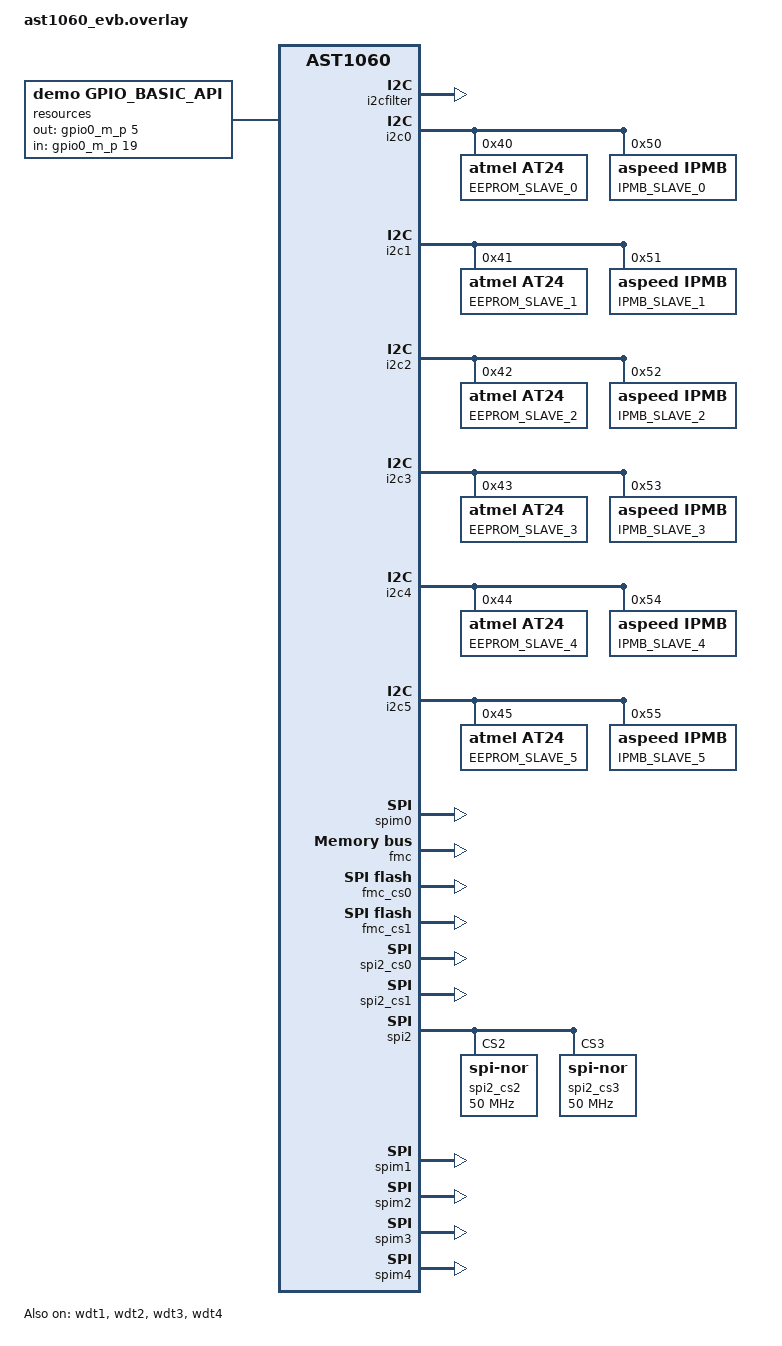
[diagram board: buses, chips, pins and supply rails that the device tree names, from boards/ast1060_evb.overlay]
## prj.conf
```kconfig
CONFIG_GPIO=y
CONFIG_SPI=y
CONFIG_I2C=y
CONFIG_THREAD_RUNTIME_STATS=y
CONFIG_GPIO_SHELL=y
CONFIG_I2C_SLAVE=y
CONFIG_I2C_EEPROM_SLAVE=y
CONFIG_I2C_IPMB_SLAVE=y
CONFIG_FLASH=y
CONFIG_SPI_NOR_MULTI_DEV=y
CONFIG_FLASH_SHELL=y
CONFIG_HEAP_MEM_POOL_SIZE=16384
CONFIG_MINIMAL_LIBC_MALLOC_ARENA_SIZE=147456
CONFIG_REBOOT=y
CONFIG_POSIX_CLOCK=y
CONFIG_STACK_SENTINEL=y
CONFIG_LOG=y
CONFIG_LOG_BACKEND_UART=y
CONFIG_SHELL=y
CONFIG_SHELL_BACKEND_SERIAL_INIT_PRIORITY=99
CONFIG_PFR_FLOW_CTRL_AST1060=y
```

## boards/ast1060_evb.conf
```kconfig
CONFIG_GPIO_ASPEED_SGPIOM=y
CONFIG_GPIO_ASPEED=y
CONFIG_SPI_ASPEED=y
CONFIG_SPI_MONITOR_ASPEED=y
CONFIG_I2C_ASPEED=y
CONFIG_I2C_PFR=y
CONFIG_I2C_PFR_INIT_PRIORITY=60
CONFIG_I2C_PFR_FILTER=y
CONFIG_SHELL_ARGC_MAX=70
CONFIG_WATCHDOG=y
CONFIG_WDT_ASPEED=y
```

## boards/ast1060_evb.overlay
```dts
/ {
	resources {
		compatible = "demo,gpio_basic_api";
		out-gpios = <&gpio0_m_p 5 0>;
		in-gpios = <&gpio0_m_p 19 0>;
	};
};

&i2cfilter {
	pinctrl-0 = <&pinctrl_smbflt_default>;
	status = "okay";
};

&i2c0 {
	status = "okay";
	pinctrl-0 = <&pinctrl_i2c0_default>;

	eeprom0: eeprom0@40 {
		compatible = "atmel,at24";
		reg = <0x40>;
		label = "EEPROM_SLAVE_0";
		size = <256>;
		pagesize = <16>;
		address-width = <8>;
		timeout = <5>;
#ifdef CONFIG_I2C_EEPROM_SLAVE
		status = "okay";
#endif
	};

	ipmb0: ipmb0@50 {
		compatible = "aspeed,ipmb";
		reg = <0x50>;
		label = "IPMB_SLAVE_0";
		size = <5>;
#ifdef CONFIG_I2C_IPMB_SLAVE
		status = "okay";
#endif
	};

};

&i2c1 {
	pinctrl-0 = <&pinctrl_i2c1_default>;
	status = "okay";

	eeprom1: eeprom1@41 {
		compatible = "atmel,at24";
		reg = <0x41>;
		label = "EEPROM_SLAVE_1";
		size = <256>;
		pagesize = <16>;
		address-width = <8>;
		timeout = <5>;
#ifdef CONFIG_I2C_EEPROM_SLAVE
		status = "okay";
#endif
	};

	ipmb1: ipmb1@51 {
		compatible = "aspeed,ipmb";
		reg = <0x51>;
		label = "IPMB_SLAVE_1";
		size = <5>;
#ifdef CONFIG_I2C_IPMB_SLAVE
		status = "okay";
#endif
	};

};

&i2c2 {
	pinctrl-0 = <&pinctrl_i2c2_default>;
	status = "okay";

	eeprom2: eeprom2@42 {
		compatible = "atmel,at24";
		reg = <0x42>;
		label = "EEPROM_SLAVE_2";
		size = <256>;
		pagesize = <16>;
		address-width = <8>;
		timeout = <5>;
#ifdef CONFIG_I2C_EEPROM_SLAVE
		status = "okay";
#endif
	};

	ipmb2: ipmb2@52 {
		compatible = "aspeed,ipmb";
		reg = <0x52>;
		label = "IPMB_SLAVE_2";
		size = <5>;
#ifdef CONFIG_I2C_IPMB_SLAVE
		status = "okay";
#endif
	};

};

&i2c3 {
	pinctrl-0 = <&pinctrl_i2c3_default>;
	status = "okay";

	eeprom3: eeprom3@43 {
		compatible = "atmel,at24";
		reg = <0x43>;
		label = "EEPROM_SLAVE_3";
		size = <256>;
		pagesize = <16>;
		address-width = <8>;
		timeout = <5>;
#ifdef CONFIG_I2C_EEPROM_SLAVE
		status = "okay";
#endif
	};

	ipmb3: ipmb3@53 {
		compatible = "aspeed,ipmb";
		reg = <0x53>;
		label = "IPMB_SLAVE_3";
		size = <5>;
#ifdef CONFIG_I2C_IPMB_SLAVE
		status = "okay";
#endif
	};

};

&i2c4 {
	pinctrl-0 = <&pinctrl_i2c4_default>;
	status = "okay";

	eeprom4: eeprom4@44 {
		compatible = "atmel,at24";
		reg = <0x44>;
		label = "EEPROM_SLAVE_4";
		size = <256>;
		pagesize = <16>;
		address-width = <8>;
		timeout = <5>;
#ifdef CONFIG_I2C_EEPROM_SLAVE
		status = "okay";
#endif
	};

	ipmb4: ipmb4@54 {
		compatible = "aspeed,ipmb";
		reg = <0x54>;
		label = "IPMB_SLAVE_4";
		size = <5>;
#ifdef CONFIG_I2C_IPMB_SLAVE
		status = "okay";
#endif
	};

};

&i2c5 {
	pinctrl-0 = <&pinctrl_i2c5_default>;
	status = "okay";

	eeprom5: eeprom5@45 {
		compatible = "atmel,at24";
		reg = <0x45>;
		label = "EEPROM_SLAVE_5";
		size = <256>;
		pagesize = <16>;
		address-width = <8>;
		timeout = <5>;
#ifdef CONFIG_I2C_EEPROM_SLAVE
		status = "okay";
#endif
	};

	ipmb5: ipmb5@55 {
		compatible = "aspeed,ipmb";
		reg = <0x55>;
		label = "IPMB_SLAVE_5";
		size = <5>;
#ifdef CONFIG_I2C_IPMB_SLAVE
		status = "okay";
#endif
	};

};

&wdt1 {
	status = "okay";
};

&wdt2 {
	status = "okay";
};

&wdt3 {
	status = "okay";
};

&wdt4 {
	status = "okay";
};

&spim0 {
	status = "okay";
};

&fmc {
	status = "okay";
};

&fmc_cs0 {
	status = "okay";
	spi-max-buswidth = <4>;
	spi-max-frequency = <50000000>;
};

&fmc_cs1 {
	status = "okay";
	spi-max-buswidth = <4>;
	spi-max-frequency = <50000000>;
};


/* Use AST1060 SPI2 as the internal SPI master to
 * to access the SPI flashes connected to SPI monitors
 * Here,
 * "SPI2_CS0" used to access flash connected to SPI_Monitor_1,
 * "SPI2_CS1" is used to access flash connected to SPI_Monitor_2,
 * "SPI2_CS2" is used to access flash connected to SPI_Monitor_3,
 * "SPI2_CS3" is used to access flash connected to SPI_Monitor_4.
 */

&spi2_cs0 {
	spi-max-buswidth = <4>;
	spi-max-frequency = <50000000>;
	reg = <0>;
	status = "okay";
};

&spi2_cs1 {
	spi-max-buswidth = <4>;
	spi-max-frequency = <50000000>;
	reg = <1>;
	status = "okay";
};

&spi2 {
	internal-mux-master = <2>;
	spi-monitor-output-base = <1>;
	spi-monitor-common-ctrl = <&spim0>;
	pinctrl-0 = <>;
	num-cs = <4>;
	status = "okay";

	spi2_cs2: flash@2 {
		compatible = "jedec,spi-nor";
		reg = <2>;
		spi-max-buswidth = <4>;
		spi-max-frequency = <50000000>;
		label = "spi2_cs2";
		status = "okay";
	};

	spi2_cs3: flash@3 {
		compatible = "jedec,spi-nor";
		reg = <3>;
		spi-max-buswidth = <4>;
		spi-max-frequency = <50000000>;
		label = "spi2_cs3";
		status = "okay";
	};
};

&spim1 {
	valid-cmds = [03 13 0b 0c 6b 6c 01 05 35 06 04 20 21 9f 5a b7 e9 32 34 d8 dc 02 12];
	log-ram-size = <0x200>;
	pinctrl-0 = <&pinctrl_spim1_cs &pinctrl_spim1_in_default &pinctrl_spim1_out_default
				&pinctrl_spim1_qspi_in_default &pinctrl_spim1_qspi_out_default
				&pinctrl_spim1_rst_out>;
	status = "okay";
};

&spim2 {
	valid-cmds = [03 13 0b 0c 6b 6c 01 05 35 06 04 20 21 9f 5a b7 e9 32 34 d8 dc 02 12];
	log-ram-size = <0x200>;
	pinctrl-0 = <&pinctrl_spim2_cs &pinctrl_spim2_in_default &pinctrl_spim2_out_default
				&pinctrl_spim2_qspi_in_default &pinctrl_spim2_qspi_out_default
				&pinctrl_spim2_rst_out>;
	status = "okay";
};

&spim3 {
	valid-cmds = [03 13 0b 0c 6b 6c 01 05 35 06 04 20 21 9f 5a b7 e9 32 34 d8 dc 02 12];
	log-ram-size = <0x200>;
	pinctrl-0 = <&pinctrl_spim3_cs &pinctrl_spim3_in_default &pinctrl_spim3_out_default
				&pinctrl_spim3_qspi_in_default &pinctrl_spim3_qspi_out_default
				&pinctrl_spim3_rst_out>;
	status = "okay";
};

&spim4 {
	valid-cmds = [03 13 0b 0c 6b 6c 01 05 35 06 04 20 21 9f 5a b7 e9 32 34 d8 dc 02 12];
	log-ram-size = <0x200>;
	/* for demo purpose */
	read-forbidden-regions = <
		0x00000000 0x10000
		0x00274000 0x4000
		0x01E00000 0x80000
	>;

	write-forbidden-regions = <
		0x00000000 0x10000
		0x013FC000 0x28000
		0x0FFF8000 0x8000
	>;

	pinctrl-0 = <&pinctrl_spim4_cs &pinctrl_spim4_in_default &pinctrl_spim4_out_default
				&pinctrl_spim4_qspi_in_default &pinctrl_spim4_qspi_out_default
				&pinctrl_spim4_rst_out>;
	status = "okay";
};
```

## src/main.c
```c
/*
 * Copyright (c) 2021 ASPEED Technology Inc.
 *
 * SPDX-License-Identifier: Apache-2.0
 */

#include <zephyr.h>
#include <sys/printk.h>
#include <drivers/misc/aspeed/pfr_aspeed.h>
#include "spi.h"
#include "demo_gpio.h"

static struct k_work rst_work;
static struct gpio_callback gpio_cb;

static void ast1060_rst_demo_passthrough(struct k_work *item)
{
	int ret;
	const struct device *spim_dev = NULL;
	uint32_t i;
	static char *spim_devs[4] = {
		"spi_m1",
		"spi_m2",
		"spi_m3",
		"spi_m4"
	};

	printk("[demo] BMC is AC on or reset!\n");

	spim_dev = device_get_binding("spi_m1");
	if (!spim_dev) {
		printk("[demo_err]: cannot get device, spi_m1.\n");
		return;
	}

	/* reset BMC and flash */
	pfr_bmc_rst_enable_ctrl(true);
	spim_rst_flash(spim_dev, 500);

	/* disable passthrough mode for SPI monitors */
	for (i = 0; i < 4; i++) {
		spim_dev = device_get_binding(spim_devs[i]);
		if (!spim_dev) {
			printk("[demo_err]: cannot get device, %s.\n", spim_devs[i]);
			return;
		}

		spim_passthrough_enable(spim_dev, 0, false);
	}

	/* emulate PFR read flash each flash content for verification purpose */
	ret = test_spi_host_read();
	if (ret)
		return;

	/* set up passthrough mode for SPI monitors */
	for (i = 0; i < 4; i++) {
		spim_dev = device_get_binding(spim_devs[i]);
		if (!spim_dev) {
			printk("[demo_err]: cannot get device, %s.\n", spim_devs[i]);
			return;
		}

		spim_passthrough_enable(spim_dev, SPIM_SINGLE_PASSTHROUGH, true);
	}

	pfr_bmc_rst_enable_ctrl(false);

}

static void gpioo3_callback(const struct device *dev,
		       struct gpio_callback *gpio_cb, uint32_t pins)
{
	/* reset BMC first */
	pfr_bmc_rst_enable_ctrl(true);

	k_work_submit(&rst_work);

	ARG_UNUSED(*gpio_cb);
	ARG_UNUSED(pins);
}

static void rst_gpio_event_register(void)
{
	int ret;
	const struct device *gpio_dev = device_get_binding(GPIOO3_DEV_NAME);

	if (!gpio_dev) {
		printk("[demo_err]: cannot get device, %s.\n", gpio_dev->name);
		return;
	}

	ret = gpio_pin_interrupt_configure(gpio_dev, GPIOO3_PIN_IN, GPIO_INT_DISABLE);
	if (ret != 0) {
		printk("[demo_err]: cannot configure GPIO INT(disabled).\n");
		return;
	}

	ret = gpio_pin_configure(gpio_dev, GPIOO3_PIN_IN, GPIO_INPUT);
	if (ret != 0) {
		printk("[demo_err]: cannot configure gpio device.\n");
		return;
	}

	gpio_init_callback(&gpio_cb, gpioo3_callback, BIT(GPIOO3_PIN_IN));
	ret = gpio_add_callback(gpio_dev, &gpio_cb);
	if (ret != 0) {
		printk("[demo_err]: cannot add gpio callback.\n");
		return;
	}

	ret = gpio_pin_interrupt_configure(gpio_dev, GPIOO3_PIN_IN, GPIO_INT_EDGE_TO_INACTIVE);
	if (ret != 0) {
		printk("[demo_err]: cannot configure GPIO INT(1->0).\n");
		return;
	}
}

void main(void)
{
	printk("%s demo\n", CONFIG_BOARD);
	/* reset BMC first */
	pfr_bmc_rst_enable_ctrl(true);

	rst_gpio_event_register();

	k_work_init(&rst_work, ast1060_rst_demo_passthrough);

	ast1060_rst_demo_passthrough(NULL);
}
```

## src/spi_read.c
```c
/*
 * Copyright (c) 2021 Aspeed Technology Inc.
 *
 * SPDX-License-Identifier: Apache-2.0
 */

#include <drivers/flash.h>
#include <drivers/spi_nor.h>
#include <kernel.h>
#include <sys/util.h>
#include <stdlib.h>
#include <string.h>
#include <zephyr.h>

#define LOG_MODULE_NAME spim_read_demo

#include <logging/log.h>
LOG_MODULE_REGISTER(LOG_MODULE_NAME);

#define SPIM_TEST_SIZE 0x1000
#define SPIM_TEST_ARR_SIZE 0x1100

static uint8_t __aligned(4) test_arr[SPIM_TEST_ARR_SIZE];

static char *flash_devices[6] = {
	"spi2_cs0",
	"spi2_cs1",
	"spi2_cs2",
	"spi2_cs3"
};

static void spim_dump_buf(uint8_t *buf, uint32_t len)
{
	uint32_t i;

	for (i = 0; i < len; i++) {
		printk("%02x ", buf[i]);
		if (i % 16 == 15)
			printk("\n");
	}
	printk("\n");
}

static int do_erase_write_verify(const struct device *flash_device,
			uint32_t op_addr, uint8_t *write_buf, uint8_t *read_back_buf,
			uint32_t erase_sz)
{
	uint32_t ret = 0;

	ret = flash_erase(flash_device, op_addr, erase_sz);
	if (ret != 0) {
		LOG_ERR("[%s][%d] erase failed at %d.",
			__func__, __LINE__, op_addr);
		goto end;
	}

	ret = flash_write(flash_device, op_addr, write_buf, erase_sz);
	if (ret != 0) {
		LOG_ERR("[%s][%d] write failed at %d.",
			__func__, __LINE__, op_addr);
		goto end;
	}

	flash_read(flash_device, op_addr, read_back_buf, erase_sz);
	if (ret != 0) {
		LOG_ERR("[%s][%d] write failed at %d.",
			__func__, __LINE__, op_addr);
		goto end;
	}

	if (memcmp(write_buf, read_back_buf, erase_sz) != 0) {
		ret = -EINVAL;
		LOG_ERR("ERROR: %s %d fail to write flash at 0x%x",
				__func__, __LINE__, op_addr);
		printk("to be written:\n");
		spim_dump_buf(write_buf, 256);

		printk("readback:\n");
		spim_dump_buf(read_back_buf, 256);

		goto end;
	}

end:
	return ret;
}

static int do_update(const struct device *flash_device,
				off_t offset, uint8_t *buf, size_t len)
{
	int ret = 0;
	uint32_t flash_sz = flash_get_flash_size(flash_device);
	uint32_t sector_sz = flash_get_write_block_size(flash_device);
	uint32_t flash_offset = (uint32_t)offset;
	uint32_t remain, op_addr = 0, end_sector_addr;
	uint8_t *update_ptr = buf, *op_buf = NULL, *read_back_buf = NULL;
	bool update_it = false;

	LOG_INF("Udpating %s...", flash_device->name);

	if (flash_sz < flash_offset + len) {
		LOG_ERR("ERROR: update boundary exceeds flash size. (%d, %d, %d)",
			flash_sz, flash_offset, len);
		ret = -EINVAL;
		goto end;
	}

	op_buf = (uint8_t *)malloc(sector_sz);
	if (op_buf == NULL) {
		LOG_ERR("heap full %d %d", __LINE__, sector_sz);
		ret = -EINVAL;
		goto end;
	}

	read_back_buf = (uint8_t *)malloc(sector_sz);
	if (read_back_buf == NULL) {
		LOG_ERR("heap full %d %d", __LINE__, sector_sz);
		ret = -EINVAL;
		goto end;
	}

	/* initial op_addr */
	op_addr = (flash_offset / sector_sz) * sector_sz;

	/* handle the start part which is not multiple of sector size */
	if (flash_offset % sector_sz != 0) {
		ret = flash_read(flash_device, op_addr, op_buf, sector_sz);
		if (ret != 0)
			goto end;

		remain = MIN(sector_sz - (flash_offset % sector_sz), len);
		memcpy((uint8_t *)op_buf + (flash_offset % sector_sz), update_ptr, remain);
		ret = do_erase_write_verify(flash_device, op_addr, op_buf,
								read_back_buf, sector_sz);
		if (ret != 0)
			goto end;

		op_addr += sector_sz;
		update_ptr += remain;
	}

	end_sector_addr = (flash_offset + len) / sector_sz * sector_sz;
	/* handle body */
	for (; op_addr < end_sector_addr;) {
		ret = flash_read(flash_device, op_addr, op_buf, sector_sz);
		if (ret != 0)
			goto end;

		if (memcmp(op_buf, update_ptr, sector_sz) != 0)
			update_it = true;

		if (update_it) {
			ret = do_erase_write_verify(flash_device, op_addr, update_ptr,
								read_back_buf, sector_sz);
			if (ret != 0)
				goto end;
		}

		op_addr += sector_sz;
		update_ptr += sector_sz;
	}

	/* handle remain part */
	if (end_sector_addr < flash_offset + len) {

		ret = flash_read(flash_device, op_addr, op_buf, sector_sz);
		if (ret != 0)
			goto end;

		remain = flash_offset + len - end_sector_addr;
		memcpy((uint8_t *)op_buf, update_ptr, remain);

		ret = do_erase_write_verify(flash_device, op_addr, op_buf,
								read_back_buf, sector_sz);
		if (ret != 0)
			goto end;

		op_addr += remain;
	}

end:
	LOG_INF("Update %s.", ret ? "FAILED" : "done");

	if (op_buf != NULL)
		free(op_buf);
	if (read_back_buf != NULL)
		free(read_back_buf);

	return ret;
}

int test_spi_host_read(void)
{
	int ret = 0;
	const struct device *flash_dev;
	uint8_t *op_buf = NULL;
	uint32_t i;

	op_buf = (uint8_t *)malloc(SPIM_TEST_SIZE);
	if (op_buf == NULL) {
		LOG_ERR("heap full %d %d", __LINE__, SPIM_TEST_SIZE);
		ret = -EINVAL;
		goto end;
	}

	for (i = 0; i < SPIM_TEST_ARR_SIZE; i++)
		test_arr[i] = 'a' + (i % 26);

	/* Don't modify flash of spi1_cs0
	 * since it is FMC_CS0 flash of the host.
	 */
	for (i = 1; i < 4; i++) {
		flash_dev = device_get_binding(flash_devices[i]);
		if (!flash_dev) {
			LOG_ERR("No device named %s.", flash_devices[i]);
			return -ENOEXEC;
		}

		ret = flash_read(flash_dev, 0x0, op_buf, SPIM_TEST_SIZE);
		if (ret) {
			LOG_ERR("fail to read flash %s", flash_devices[i]);
			goto end;
		}

		if (memcmp(op_buf, test_arr + (i * 4), SPIM_TEST_SIZE) != 0) {
			ret = do_update(flash_dev, 0x0,
					test_arr + (i * 4), SPIM_TEST_SIZE);
			if (ret != 0) {
				LOG_ERR("fail to update flash %s", flash_devices[i]);
				goto end;
			}
		}
	}

	for (i = 0; i < 4; i++) {
		flash_dev = device_get_binding(flash_devices[i]);
		if (!flash_dev) {
			LOG_ERR("No device named %s.", flash_devices[i]);
			return -ENOEXEC;
		}

		ret = flash_read(flash_dev, 0x0, op_buf, SPIM_TEST_SIZE);
		if (ret) {
			LOG_ERR("fail to read flash %s", flash_devices[i]);
			goto end;
		}

		printk("[%s]read result:\n", flash_devices[i]);
		spim_dump_buf(op_buf, 4);
		spim_dump_buf(op_buf + SPIM_TEST_SIZE - 4, 4);

		/* reset BMC boot up flash */
		if (i == 0) {
			ret = spi_nor_config_4byte_mode(flash_dev, false);
			if (ret)
				goto end;
		}
	}

	k_busy_wait(20000); /* 20ms */

end:

	free(op_buf);
	return ret;
}
```
